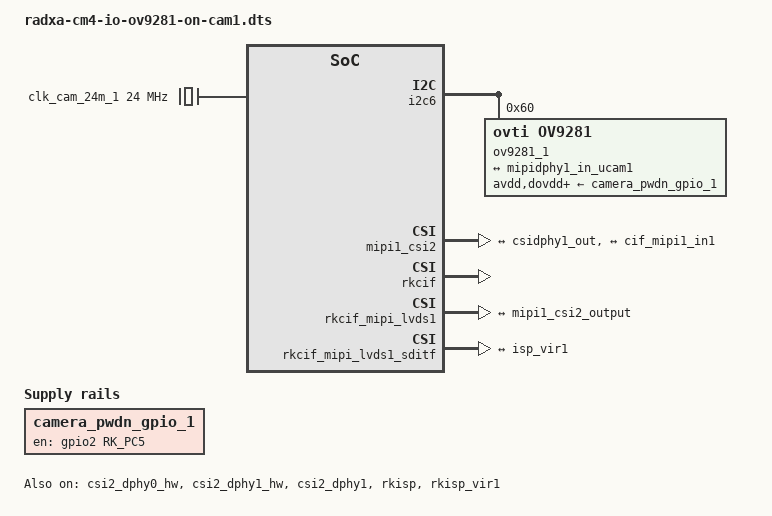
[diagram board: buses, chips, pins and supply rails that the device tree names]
/dts-v1/;
/plugin/;

#include <dt-bindings/gpio/gpio.h>
#include <dt-bindings/pinctrl/rockchip.h>

/ {
	metadata {
		title = "Enable OV9281 Camera on CAM1";
		compatible = "radxa,cm4-io";
		category = "camera";
		exclusive = "GPIO2_C5", "csi2_dphy1";
		description = "Enable an OV9281 two-lane MIPI CSI-2 camera on CAM1.";
	};
};

&{/} {
	camera_pwdn_gpio_1: camera-pwdn-gpio-1 {
		compatible = "regulator-fixed";
		regulator-name = "camera_pwdn_gpio_1";
		regulator-always-on;
		regulator-boot-on;
		enable-active-high;
		gpio = <&gpio2 RK_PC5 GPIO_ACTIVE_HIGH>;
		pinctrl-names = "default";
		pinctrl-0 = <&cam_pwdn_gpio_1>;
	};

	clk_cam_24m_1: external-camera-clock-24m-1 {
		compatible = "fixed-clock";
		clock-frequency = <24000000>;
		clock-output-names = "clk_cam_24m_1";
		#clock-cells = <0>;
	};
};

&i2c6 {
	status = "okay";
	pinctrl-names = "default";
	pinctrl-0 = <&i2c6m3_xfer>;
	#address-cells = <1>;
	#size-cells = <0>;

	ov9281_1: ov9281@60 {
		status = "okay";
		compatible = "ovti,ov9281";
		reg = <0x60>;

		clocks = <&clk_cam_24m_1>;
		clock-names = "xvclk";

		avdd-supply = <&camera_pwdn_gpio_1>;
		dovdd-supply = <&camera_pwdn_gpio_1>;
		dvdd-supply = <&camera_pwdn_gpio_1>;

		rockchip,camera-module-index = <0>;
		rockchip,camera-module-facing = "back";
		rockchip,camera-module-name = "ov9281";
		rockchip,camera-module-lens-name = "default";

		port {
			ov9281_out1: endpoint {
				remote-endpoint = <&mipidphy1_in_ucam1>;
				data-lanes = <1 2>;
			};
		};
	};
};

&csi2_dphy0_hw {
	status = "okay";
};

&csi2_dphy1_hw {
	status = "okay";
};

&csi2_dphy1 {
	status = "okay";

	ports {
		#address-cells = <1>;
		#size-cells = <0>;

		port@0 {
			reg = <0>;
			#address-cells = <1>;
			#size-cells = <0>;

			mipidphy1_in_ucam1: endpoint@2 {
				reg = <2>;
				remote-endpoint = <&ov9281_out1>;
				data-lanes = <1 2>;
			};
		};

		port@1 {
			reg = <1>;
			#address-cells = <1>;
			#size-cells = <0>;

			csidphy1_out: endpoint@0 {
				reg = <0>;
				remote-endpoint = <&mipi1_csi2_input>;
			};
		};
	};
};

&mipi1_csi2 {
	status = "okay";

	ports {
		#address-cells = <1>;
		#size-cells = <0>;

		port@0 {
			reg = <0>;
			#address-cells = <1>;
			#size-cells = <0>;

			mipi1_csi2_input: endpoint@1 {
				reg = <1>;
				remote-endpoint = <&csidphy1_out>;
			};
		};

		port@1 {
			reg = <1>;
			#address-cells = <1>;
			#size-cells = <0>;

			mipi1_csi2_output: endpoint@0 {
				reg = <0>;
				remote-endpoint = <&cif_mipi1_in1>;
			};
		};
	};
};

&rkcif {
	status = "okay";
};

&rkcif_mmu {
	status = "okay";
};

&rkcif_mipi_lvds1 {
	status = "okay";

	port {
		cif_mipi1_in1: endpoint {
			remote-endpoint = <&mipi1_csi2_output>;
		};
	};
};

&rkcif_mipi_lvds1_sditf {
	status = "okay";

	port {
		mipi_lvds1_sditf: endpoint {
			remote-endpoint = <&isp_vir1>;
		};
	};
};

&rkisp_mmu {
	status = "okay";
};

&rkisp {
	status = "okay";
};

&rkisp_vir1 {
	status = "okay";

	port {
		#address-cells = <1>;
		#size-cells = <0>;

		isp_vir1: endpoint@0 {
			reg = <0>;
			remote-endpoint = <&mipi_lvds1_sditf>;
		};
	};
};

&pinctrl {
	camera {
		cam_pwdn_gpio_1: cam-pwdn-gpio-1 {
			rockchip,pins = <2 RK_PC5 RK_FUNC_GPIO &pcfg_pull_up>;
		};
	};
};
